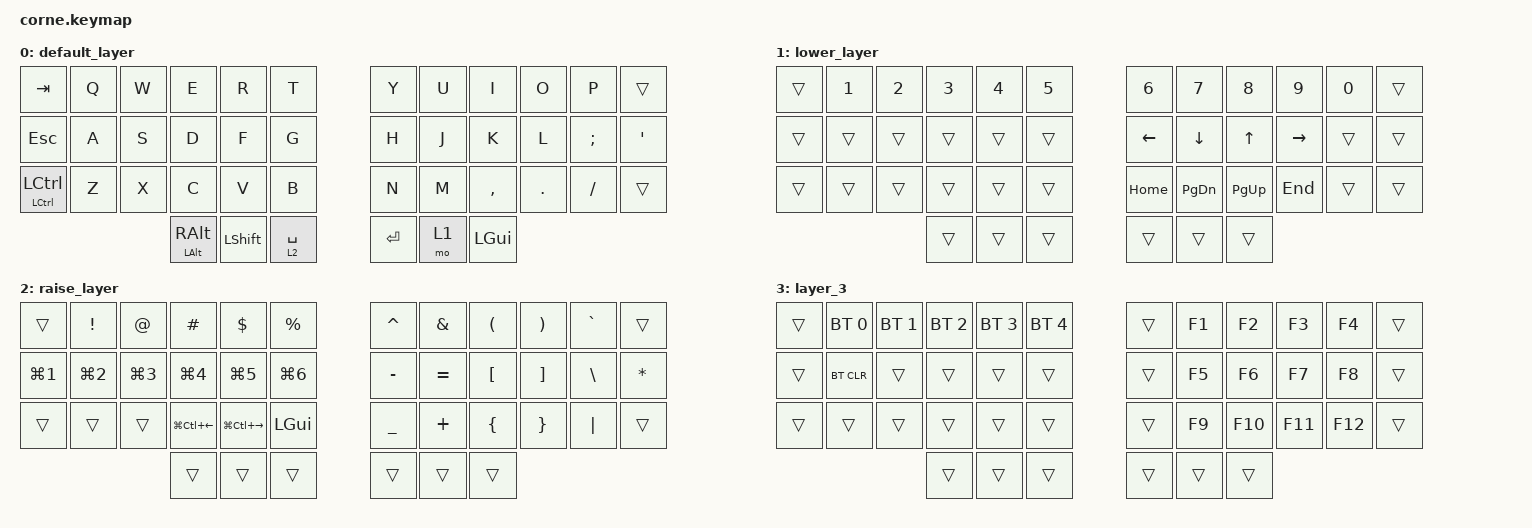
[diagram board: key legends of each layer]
/*
 * Copyright (c) 2020 The ZMK Contributors
 *
 * SPDX-License-Identifier: MIT
 */

#include <behaviors.dtsi>
#include <dt-bindings/zmk/bt.h>
#include <dt-bindings/zmk/keys.h>

&lt { tapping-term-ms = <175>; };

&sk { lazy; };

/ {
    behaviors {
        hold_tap: hold_tap {
            compatible = "zmk,behavior-hold-tap";
            label = "HOLD_TAP";
            bindings = <&kp>, <&kp>;

            #binding-cells = <2>;
            tapping-term-ms = <200>;
            flavor = "balanced";
        };

        caps_word: caps_word {
            compatible = "zmk,behavior-caps-word";
            label = "CAPS_WORD";
            #binding-cells = <0>;
            continue-list = <SPACE NUMBER_1 NUMBER_2 NUMBER_3 NUMBER_4 NUMBER_5 NUMBER_6 NUMBER_7 NUMBER_8 NUMBER_9 NUMBER_0 BACKSPACE>;
        };

        shift_caps: shift_caps {
            compatible = "zmk,behavior-tap-dance";
            label = "SHIFT_CAPS";
            #binding-cells = <0>;
            bindings = <&kp LEFT_SHIFT>, <&caps_word>;
        };

        tap_sk: tap_sk {
            compatible = "zmk,behavior-hold-tap";
            label = "TAP_SK";
            bindings = <&kp>, <&sk>;

            #binding-cells = <2>;
            tapping-term-ms = <150>;
        };
    };

    combos {
        compatible = "zmk,combos";

        cb_delete {
            bindings = <&kp DELETE>;
            key-positions = <27 28>;
        };

        backspace {
            bindings = <&kp BACKSPACE>;
            key-positions = <31 32>;
        };

        minus_combo {
            bindings = <&kp MINUS>;
            key-positions = <18 19>;
        };

        underscore_combo {
            bindings = <&kp UNDERSCORE>;
            key-positions = <30 31>;
        };
    };

    keymap {
        compatible = "zmk,keymap";

        default_layer {
            // -----------------------------------------------------------------------------------------
            // |  TAB |  Q  |  W  |  E  |  R  |  T  |   |  Y  |  U   |  I  |  O  |  P  | BSPC |
            // | CTRL |  A  |  S  |  D  |  F  |  G  |   |  H  |  J   |  K  |  L  |  ;  |  '   |
            // | SHFT |  Z  |  X  |  C  |  V  |  B  |   |  N  |  M   |  ,  |  .  |  /  | ESC  |
            //                    | GUI | LWR | SPC |   | ENT | RSE  | ALT |

            bindings = <
&kp TAB              &kp Q  &kp W  &kp E                       &kp R           &kp T          &kp Y    &kp U  &kp I         &kp O    &kp P          &trans
&kp ESC              &kp A  &kp S  &kp D                       &kp F           &kp G          &kp H    &kp J  &kp K         &kp L    &kp SEMICOLON  &kp SQT
&tap_sk LCTRL LCTRL  &kp Z  &kp X  &kp C                       &kp V           &kp B          &kp N    &kp M  &kp COMMA     &kp DOT  &kp FSLH       &trans
                                   &tap_sk LEFT_ALT RIGHT_ALT  &kp LEFT_SHIFT  &lt 2 SPACE    &kp RET  &mo 1  &kp LEFT_GUI
            >;
        };

        lower_layer {
            // -----------------------------------------------------------------------------------------
            // |  TAB |  1  |  2  |  3  |  4  |  5  |   |  6  |  7  |  8  |  9  |  0  | BSPC |
            // | BTCLR| BT1 | BT2 | BT3 | BT4 | BT5 |   | LFT | DWN |  UP | RGT |     |      |
            // | SHFT |     |     |     |     |     |   |     |     |     |     |     |      |
            //                    | GUI |     | SPC |   | ENT |     | ALT |

            bindings = <
&trans  &kp NUMBER_1  &kp NUMBER_2  &kp NUMBER_3  &kp NUMBER_4  &kp N5    &kp NUMBER_6  &kp N7         &kp N8       &kp N9     &kp N0  &trans
&trans  &trans        &trans        &trans        &trans        &trans    &kp LEFT      &kp DOWN       &kp UP       &kp RIGHT  &trans  &trans
&trans  &trans        &trans        &trans        &trans        &trans    &kp HOME      &kp PAGE_DOWN  &kp PAGE_UP  &kp END    &trans  &trans
                                    &trans        &trans        &trans    &trans        &trans         &trans
            >;
        };

        raise_layer {
            // -----------------------------------------------------------------------------------------
            // |  TAB |  !  |  @  |  #  |  $  |  %  |   |  ^  |  &  |  *  |  (  |  )  | BSPC |
            // | CTRL |     |     |     |     |     |   |  -  |  =  |  [  |  ]  |  \  |  `   |
            // | SHFT |     |     |     |     |     |   |  _  |  +  |  {  |  }  | "|" |  ~   |
            //                    | GUI |     | SPC |   | ENT |     | ALT |

            bindings = <
&trans            &kp EXCLAMATION   &kp AT_SIGN       &kp HASH          &kp DOLLAR         &kp PERCENT         &kp CARET  &kp AMPS   &kp LEFT_PARENTHESIS  &kp RIGHT_PARENTHESIS  &kp GRAVE  &trans
&kp LG(NUMBER_1)  &kp LG(NUMBER_2)  &kp LG(NUMBER_3)  &kp LG(NUMBER_4)  &kp LG(N5)         &kp LG(NUMBER_6)    &kp MINUS  &kp EQUAL  &kp LBKT              &kp RBKT               &kp BSLH   &kp ASTERISK
&trans            &trans            &trans            &kp LG(LC(LEFT))  &kp LG(LC(RIGHT))  &kp LEFT_GUI        &kp UNDER  &kp PLUS   &kp LBRC              &kp RBRC               &kp PIPE   &trans
                                                      &trans            &trans             &trans              &trans     &trans     &trans
            >;
        };

        layer_3 {
            bindings = <
&trans  &bt BT_SEL 0  &bt BT_SEL 1  &bt BT_SEL 2  &bt BT_SEL 3  &bt BT_SEL 4    &trans  &kp F1  &kp F2   &kp F3   &kp F4   &trans
&trans  &bt BT_CLR    &trans        &trans        &trans        &trans          &trans  &kp F5  &kp F6   &kp F7   &kp F8   &trans
&trans  &trans        &trans        &trans        &trans        &trans          &trans  &kp F9  &kp F10  &kp F11  &kp F12  &trans
                                    &trans        &trans        &trans          &trans  &trans  &trans
            >;
        };
    };

    conditional_layers {
        compatible = "zmk,conditional-layers";

        Layer3 {
            if-layers = <2 1>;
            then-layer = <3>;
        };
    };
};
